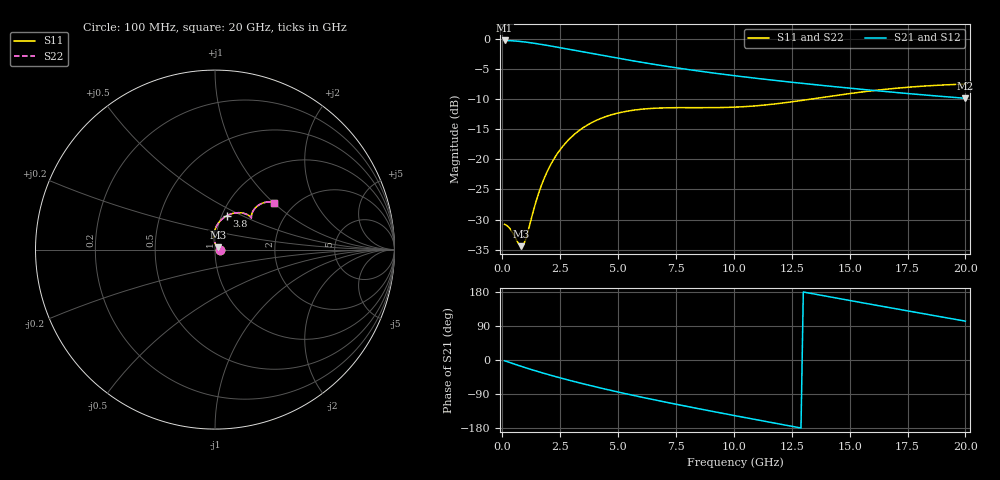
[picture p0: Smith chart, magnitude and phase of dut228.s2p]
! Created with skrf 1.9.0 (http://scikit-rf.org).
# GHz S RI R 50.0
!freq ReS11 ImS11 ReS21 ImS21 ReS12 ImS12 ReS22 ImS22
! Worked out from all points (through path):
!   200 points, 100 MHz to 20 GHz, reference 50 ohm
!   highest |S21| = -0.26 dB at 100 MHz (marker M1); lowest = -9.9 dB at 20 GHz (marker M2)
!   group delay of S21, straight-line fit = 34.1 ps
!   lowest |S11| = -34.4 dB at 800 MHz (marker M3), VSWR 1.04, Z = 51.5 + j1.23 ohm
!   |S11| at or under -10 dB: start of sweep to 13.33 GHz
!   |S22| runs from -34.4 to -7.5 dB; largest |S21 - S12| = 2.7e-15
!   S11 on the Smith chart (normalised r, x): 100 MHz: 1.06, +0.00; 3.8 GHz: 1.06, +0.41; 20 GHz: 1.59, +1.01
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0.1  0.0289 0.00028  0.9699 -0.035  0.9699 -0.035  0.0289 0.00028
0.3  0.027 0.00213  0.9619 -0.1052  0.9619 -0.1052  0.027 0.00213
0.8  0.0148 0.012  0.9122 -0.2686  0.9122 -0.2686  0.0148 0.012
0.9  0.0117 0.0155  0.8979 -0.2985  0.8979 -0.2985  0.0117 0.0155
1  0.00861 0.0195  0.8825 -0.3272  0.8825 -0.3272  0.00861 0.0195
1.4  -0.00198 0.0409  0.8111 -0.4303  0.8111 -0.4303  -0.00198 0.0409
1.6  -0.00527 0.0542  0.7711 -0.4747  0.7711 -0.4747  -0.00527 0.0542
1.8  -0.00676 0.0685  0.7292 -0.5144  0.7292 -0.5144  -0.00676 0.0685
2.1  -0.00532 0.091  0.6639 -0.5656  0.6639 -0.5656  -0.00532 0.091
2.7  0.01 0.134  0.53 -0.641  0.53 -0.641  0.01 0.134
3.5  0.0481 0.1772  0.3547 -0.6941  0.3547 -0.6941  0.0481 0.1772
3.8  0.0648 0.1881  0.292 -0.7024  0.292 -0.7024  0.0648 0.1881
5.1  0.133 0.2056  0.0492 -0.6838  0.0492 -0.6838  0.133 0.2056
6.8  0.1865 0.1908  -0.1873 -0.5744  -0.1873 -0.5744  0.1865 0.1908
8.4  0.2018 0.1772  -0.3317 -0.4309  -0.3317 -0.4309  0.2018 0.1772
10.1  0.2025 0.181  -0.4159 -0.2646  -0.4159 -0.2646  0.2025 0.181
11.7  0.2057 0.2006  -0.4402 -0.1108  -0.4402 -0.1108  0.2057 0.2006
13.4  0.2211 0.2281  -0.4171 0.037  -0.4171 0.037  0.2211 0.2281
15.1  0.2488 0.2513  -0.3547 0.158  -0.3547 0.158  0.2488 0.2513
16.7  0.2798 0.2632  -0.2717 0.2412  -0.2717 0.2412  0.2798 0.2632
18.3  0.3083 0.2655  -0.1757 0.2927  -0.1757 0.2927  0.3083 0.2655
20  0.3304 0.2621  -0.0696 0.3137  -0.0696 0.3137  0.3304 0.2621
